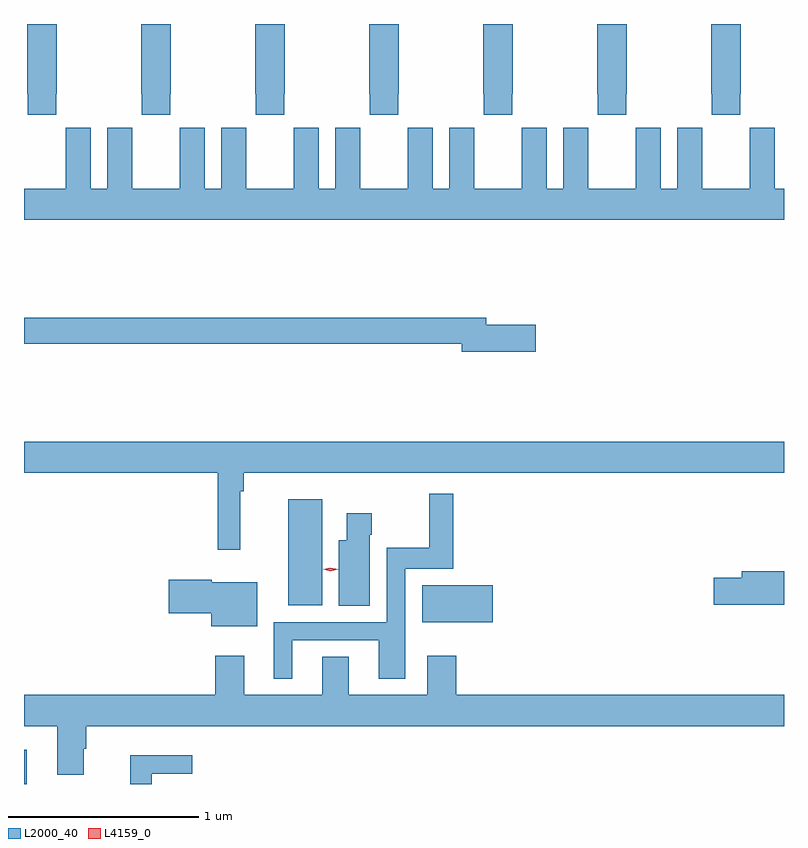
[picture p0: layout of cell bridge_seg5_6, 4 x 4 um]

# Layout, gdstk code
import gdstk
lib = gdstk.Library(unit=1e-6, precision=1e-09)
def R(c, l, rs):  # rectangles x0, y0, x1, y1
    for r in rs: c.add(gdstk.rectangle(r[:2], r[2:], *l))
def P(c, l, *ps):  # polygons
    for p in ps: c.add(gdstk.Polygon(p, *l))
L2000_40 = (2000, 40)
L4159_0 = (4159, 0)

bridge_seg5_6 = lib.new_cell('bridge_seg5_6')
R(bridge_seg5_6, L2000_40, [(983.773,845.799,983.788,845.98), (985.868,846.65,986.239,846.844), (985.163,846.74,985.342,847.297)])
P(bridge_seg5_6, L2000_40, [(987.543,849.433),(987.546,849.433),(987.546,849.799),(987.391,849.799),(987.391,849.433),(987.393,849.433),(987.393,849.321),(987.543,849.321)],
  [(986.343,849.433),(986.346,849.433),(986.346,849.799),(986.191,849.799),(986.191,849.433),(986.193,849.433),(986.193,849.321),(986.343,849.321)],
  [(985.743,849.433),(985.746,849.433),(985.746,849.799),(985.591,849.799),(985.591,849.433),(985.593,849.433),(985.593,849.321),(985.743,849.321)],
  [(985.143,849.433),(985.146,849.433),(985.146,849.799),(984.991,849.799),(984.991,849.433),(984.993,849.433),(984.993,849.321),(985.143,849.321)],
  [(984.543,849.433),(984.546,849.433),(984.546,849.799),(984.391,849.799),(984.391,849.433),(984.393,849.433),(984.393,849.321),(984.543,849.321)],
  [(983.943,849.433),(983.946,849.433),(983.946,849.799),(983.791,849.799),(983.791,849.433),(983.793,849.433),(983.793,849.321),(983.943,849.321)],
  [(986.943,849.433),(986.946,849.433),(986.946,849.799),(986.791,849.799),(986.791,849.433),(986.793,849.433),(986.793,849.321),(986.943,849.321)],
  [(987.773,848.932),(987.724,848.932),(987.724,849.253),(987.594,849.253),(987.594,849.14),(987.593,849.14),(987.593,848.932),(987.343,848.932),(987.343,849.14),(987.342,849.14),(987.342,849.253),(987.212,849.253),(987.212,848.932),(987.124,848.932),(987.124,849.253),(986.994,849.253),(986.994,849.14),(986.993,849.14),(986.993,848.932),(986.743,848.932),(986.743,849.14),(986.742,849.14),(986.742,849.253),(986.612,849.253),(986.612,848.932),(986.524,848.932),(986.524,849.253),(986.394,849.253),(986.394,849.14),(986.393,849.14),(986.393,848.932),(986.143,848.932),(986.143,849.14),(986.142,849.14),(986.142,849.253),(986.012,849.253),(986.012,848.932),(985.924,848.932),(985.924,849.253),(985.794,849.253),(985.794,849.14),(985.793,849.14),(985.793,848.932),(985.543,848.932),(985.543,849.14),(985.542,849.14),(985.542,849.253),(985.412,849.253),(985.412,848.932),(985.324,848.932),(985.324,849.253),(985.194,849.253),(985.194,849.14),(985.193,849.14),(985.193,848.932),(984.943,848.932),(984.943,849.14),(984.942,849.14),(984.942,849.253),(984.812,849.253),(984.812,848.932),(984.724,848.932),(984.724,849.253),(984.594,849.253),(984.594,849.14),(984.593,849.14),(984.593,848.932),(984.343,848.932),(984.343,849.14),(984.342,849.14),(984.342,849.253),(984.212,849.253),(984.212,848.932),(984.124,848.932),(984.124,849.253),(983.994,849.253),(983.994,849.14),(983.993,849.14),(983.993,848.932),(983.773,848.932),(983.773,848.768),(987.773,848.768)],
  [(986.467,848.216),(986.206,848.216),(986.206,848.252),(983.773,848.252),(983.773,848.116),(986.078,848.116),(986.078,848.074),(986.467,848.074)],
  [(984.912,847.34),(984.929,847.34),(984.929,847.436),(987.773,847.436),(987.773,847.6),(983.773,847.6),(983.773,847.436),(984.793,847.436),(984.793,847.032),(984.912,847.032)],
  [(985.186,846.555),(985.64,846.555),(985.64,846.354),(985.779,846.354),(985.779,846.933),(986.033,846.933),(986.033,847.327),(985.905,847.327),(985.905,847.042),(985.683,847.042),(985.683,846.651),(985.088,846.651),(985.088,846.354),(985.186,846.354)],
  [(985.594,847.112),(985.602,847.112),(985.602,847.225),(985.472,847.225),(985.472,847.081),(985.43,847.081),(985.43,846.736),(985.594,846.736)],
  [(987.773,846.92),(987.551,846.92),(987.551,846.884),(987.402,846.884),(987.402,846.742),(987.773,846.742)],
  [(985,846.862),(984.762,846.862),(984.762,846.875),(984.534,846.875),(984.534,846.697),(984.758,846.697),(984.758,846.629),(985,846.629)],
  [(984.088,845.984),(984.101,845.984),(984.101,846.104),(987.773,846.104),(987.773,846.268),(986.048,846.268),(986.048,846.475),(985.895,846.475),(985.895,846.268),(985.483,846.268),(985.483,846.47),(985.343,846.47),(985.343,846.268),(984.931,846.268),(984.931,846.475),(984.779,846.475),(984.779,846.268),(983.773,846.268),(983.773,846.104),(983.948,846.104),(983.948,845.847),(984.088,845.847)],
  [(984.445,845.852),(984.658,845.852),(984.658,845.95),(984.333,845.95),(984.333,845.799),(984.445,845.799)])
P(bridge_seg5_6, L4159_0, [(985.386,846.918),(985.347,846.928),(985.347,846.928),(985.347,846.929),(985.386,846.938),(985.426,846.929),(985.426,846.928),(985.426,846.928)])

lib.write_gds('bridge_seg5_6.gds')
